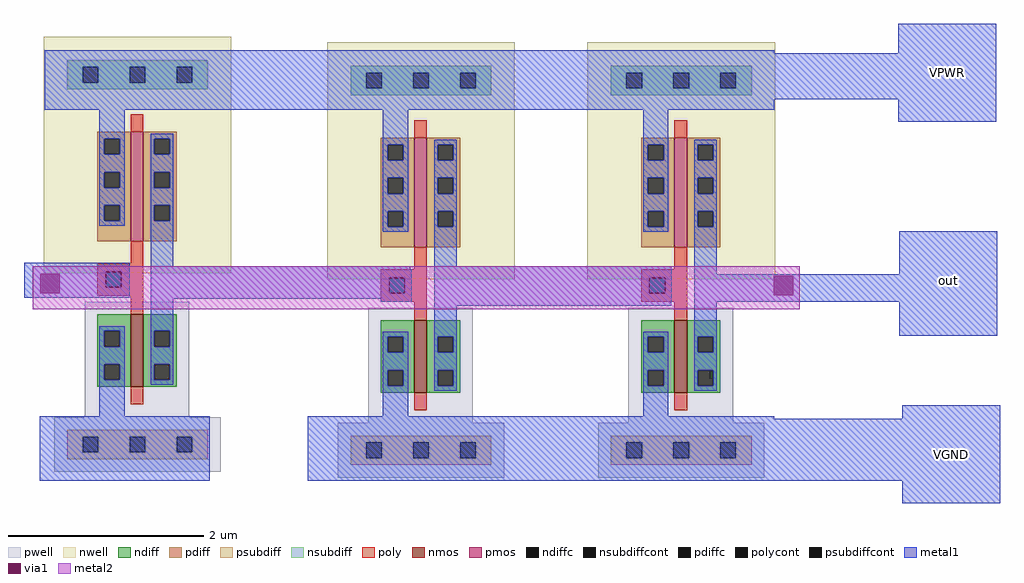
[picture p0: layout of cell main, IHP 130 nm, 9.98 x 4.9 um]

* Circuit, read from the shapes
.subckt main out VPWR VGND
XM1 x1/A out VGND VGND sg13_lv_nmos w=0.74u l=0.13u
XM2 x2/A x1/A VGND VGND sg13_lv_nmos w=0.74u l=0.13u
XM3 out x2/A VGND VGND sg13_lv_nmos w=0.74u l=0.13u
XM4 x1/A out VPWR VPWR sg13_lv_pmos w=1.12u l=0.13u
XM5 x2/A x1/A VPWR VPWR sg13_lv_pmos w=1.12u l=0.13u
XM6 out x2/A VPWR VPWR sg13_lv_pmos w=1.12u l=0.13u
.ends

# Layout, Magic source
magic
tech ihp-sg13g2
magscale 1 2
<< nwell >>
rect 444 480 452 576
<< pwell >>
rect 1022 194 1036 220
<< ndiff >>
rect 1022 194 1036 220
<< metal1 >>
rect -338 860 1154 866
rect 1408 860 1608 920
rect -338 766 1608 860
rect -338 744 1154 766
rect 1408 720 1608 766
rect -380 360 -164 432
rect -120 358 410 424
rect 466 344 944 424
rect 1410 408 1610 496
rect 996 352 1610 408
rect 1410 282 1610 352
rect -348 -14 0 118
rect 200 112 1154 118
rect 1416 112 1616 140
rect 200 -14 1616 112
rect 1416 -60 1616 -14
<< metal2 >>
rect -362 336 1206 424
<< via1 >>
rect -347 369 -307 409
rect 1153 365 1193 405
use sg13g2_inv_1  x1
transform 1 0 288 0 1 48
box -48 -56 336 834
use sg13g2_inv_1  x2
transform 1 0 820 0 1 48
box -48 -56 336 834
use sg13g2_inv_1  x32
transform 1 0 -292 0 1 60
box -48 -56 336 834
<< labels >>
flabel metal1 1410 296 1610 496 0 FreeSans 1600 0 0 0 out
port 0 nsew
flabel metal1 1408 720 1608 920 0 FreeSans 1600 0 0 0 VPWR
port 1 nsew
flabel metal1 1416 -60 1616 140 0 FreeSans 1600 0 0 0 VGND
port 2 nsew
<< end >>

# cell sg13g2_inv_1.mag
magic
tech ihp-sg13g2
magscale 1 2
<< nwell >>
rect -48 350 336 834
<< pwell >>
rect 36 56 250 292
rect -26 -56 314 56
<< nmos >>
rect 130 118 156 266
<< pmos >>
rect 130 415 156 639
<< ndiff >>
rect 62 232 130 266
rect 62 200 76 232
rect 108 200 130 232
rect 62 164 130 200
rect 62 132 76 164
rect 108 132 130 164
rect 62 118 130 132
rect 156 232 224 266
rect 156 200 178 232
rect 210 200 224 232
rect 156 164 224 200
rect 156 132 178 164
rect 210 132 224 164
rect 156 118 224 132
<< pdiff >>
rect 62 625 130 639
rect 62 593 76 625
rect 108 593 130 625
rect 62 557 130 593
rect 62 525 76 557
rect 108 525 130 557
rect 62 489 130 525
rect 62 457 76 489
rect 108 457 130 489
rect 62 415 130 457
rect 156 625 224 639
rect 156 593 178 625
rect 210 593 224 625
rect 156 557 224 593
rect 156 525 178 557
rect 210 525 224 557
rect 156 489 224 525
rect 156 457 178 489
rect 210 457 224 489
rect 156 415 224 457
<< ndiffc >>
rect 76 200 108 232
rect 76 132 108 164
rect 178 200 210 232
rect 178 132 210 164
<< pdiffc >>
rect 76 593 108 625
rect 76 525 108 557
rect 76 457 108 489
rect 178 593 210 625
rect 178 525 210 557
rect 178 457 210 489
<< psubdiff >>
rect 0 16 288 30
rect 0 -16 32 16
rect 64 -16 128 16
rect 160 -16 224 16
rect 256 -16 288 16
rect 0 -30 288 -16
<< nsubdiff >>
rect 0 772 288 786
rect 0 740 32 772
rect 64 740 128 772
rect 160 740 224 772
rect 256 740 288 772
rect 0 726 288 740
<< psubdiffcont >>
rect 32 -16 64 16
rect 128 -16 160 16
rect 224 -16 256 16
<< nsubdiffcont >>
rect 32 740 64 772
rect 128 740 160 772
rect 224 740 256 772
<< poly >>
rect 130 639 156 675
rect 130 370 156 415
rect 62 353 156 370
rect 62 321 79 353
rect 111 321 156 353
rect 62 304 156 321
rect 130 266 156 304
rect 130 82 156 118
<< polycont >>
rect 79 321 111 353
<< metal1 >>
rect 0 772 288 800
rect 0 740 32 772
rect 64 740 128 772
rect 160 740 224 772
rect 256 740 288 772
rect 0 712 288 740
rect 66 625 118 712
rect 66 593 76 625
rect 108 593 118 625
rect 66 557 118 593
rect 66 525 76 557
rect 108 525 118 557
rect 66 489 118 525
rect 66 457 76 489
rect 108 457 118 489
rect 66 447 118 457
rect 171 625 217 635
rect 171 593 178 625
rect 210 593 217 625
rect 171 557 217 593
rect 171 525 178 557
rect 210 525 217 557
rect 171 489 217 525
rect 171 457 178 489
rect 210 457 217 489
rect 62 353 125 370
rect 62 321 79 353
rect 111 321 125 353
rect 62 304 125 321
rect 66 232 118 242
rect 66 200 76 232
rect 108 200 118 232
rect 66 164 118 200
rect 66 132 76 164
rect 108 132 118 164
rect 66 44 118 132
rect 171 232 217 457
rect 171 200 178 232
rect 210 200 217 232
rect 171 164 217 200
rect 171 132 178 164
rect 210 132 217 164
rect 171 122 217 132
rect 0 16 288 44
rect 0 -16 32 16
rect 64 -16 128 16
rect 160 -16 224 16
rect 256 -16 288 16
rect 0 -44 288 -16
<< labels >>
flabel metal1 s 171 122 217 635 0 FreeSans 400 0 0 0 Y
port 2 nsew
flabel metal1 s 62 304 125 370 0 FreeSans 400 0 0 0 A
port 3 nsew
flabel metal1 s 0 -44 288 44 0 FreeSans 400 0 0 0 VSS
port 4 nsew
flabel metal1 s 0 712 288 800 0 FreeSans 400 0 0 0 VDD
port 5 nsew
<< properties >>
string GDS_END 306644
string GDS_FILE $PDKPATH/libs.ref/sg13g2_stdcell/gds/sg13g2_stdcell.gds
string GDS_START 303708
<< end >>
